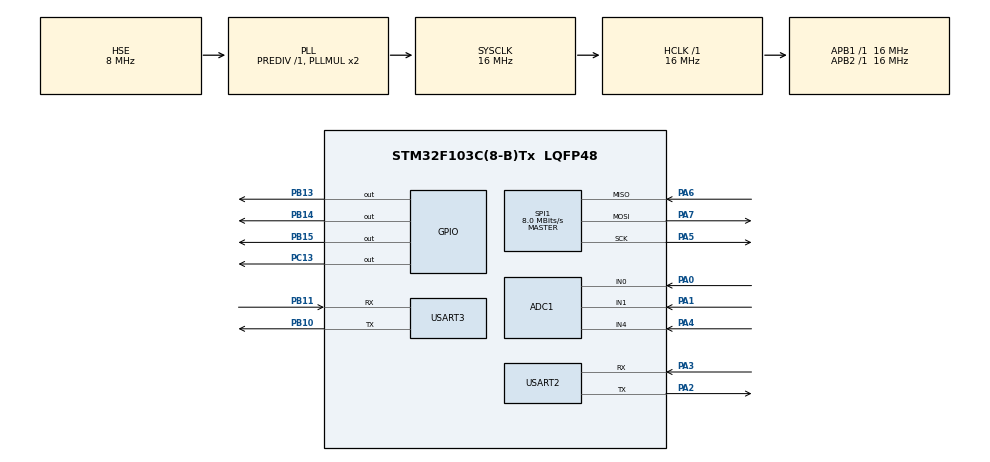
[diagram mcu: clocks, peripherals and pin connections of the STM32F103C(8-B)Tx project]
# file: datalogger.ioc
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Mcu.Family=STM32F1
NVIC.USART3_IRQn=true\:0\:0\:false\:false\:true\:true\:true
ADC1.Channel-10\#ChannelRegularConversion=ADC_CHANNEL_1
RCC.PLLSourceVirtual=RCC_PLLSOURCE_HSE
PA6.Mode=Full_Duplex_Master
PA7.Mode=Full_Duplex_Master
PD1-OSC_OUT.Mode=HSE-External-Oscillator
SPI1.VirtualType=VM_MASTER
ADC1.Rank-10\#ChannelRegularConversion=2
PB10.Mode=Asynchronous
TIM3.AutoReloadPreload=TIM_AUTORELOAD_PRELOAD_ENABLE
PC13-TAMPER-RTC.Signal=GPIO_Output
PD0-OSC_IN.Signal=RCC_OSC_IN
PB11.Signal=USART3_RX
PB13.Signal=GPIO_Output
PB15.Signal=GPIO_Output
NVIC.USART2_IRQn=true\:0\:0\:false\:false\:true\:true\:true
RCC.SYSCLKSource=RCC_SYSCLKSOURCE_PLLCLK
ProjectManager.StackSize=0x400
PA0-WKUP.Signal=ADCx_IN0
PD1-OSC_OUT.Signal=RCC_OSC_OUT
PA13.Signal=SYS_JTMS-SWDIO
PA3.Mode=Asynchronous
PB11.Mode=Asynchronous
ProjectManager.TargetToolchain=STM32CubeIDE
ADC1.Rank-11\#ChannelRegularConversion=3
SPI1.Direction=SPI_DIRECTION_2LINES
RCC.HCLKFreq_Value=16000000
RCC.APB2TimFreq_Value=16000000
TIM3.Period=30000
SPI1.CalculateBaudRate=8.0 MBits/s
RCC.USBFreq_Value=16000000
PA1.Signal=ADCx_IN1
RCC.AHBFreq_Value=16000000
PD0-OSC_IN.Mode=HSE-External-Oscillator
PB10.Signal=USART3_TX
PB14.Signal=GPIO_Output
PA5.Signal=SPI1_SCK
board=custom
NVIC.TIM3_IRQn=true\:0\:0\:false\:false\:true\:true\:true
RCC.APB2Freq_Value=16000000
SPI1.Mode=SPI_MODE_MASTER
PA14.Mode=Serial_Wire
TIM3.Prescaler=15999
SH.ADCx_IN4.0=ADC1_IN4,IN4
SH.ADCx_IN0.0=ADC1_IN0,IN0
ADC1.SamplingTime-10\#ChannelRegularConversion=ADC_SAMPLETIME_239CYCLES_5
ADC1.Rank-9\#ChannelRegularConversion=1
ADC1.NbrOfConversion=3
PA13.Mode=Serial_Wire
Mcu.Name=STM32F103C(8-B)Tx
PA2.Signal=USART2_TX
ADC1.Channel-9\#ChannelRegularConversion=ADC_CHANNEL_0
PA4.Signal=ADCx_IN4
RCC.SYSCLKFreq_VALUE=16000000
Mcu.Package=LQFP48
ADC1.SamplingTime-11\#ChannelRegularConversion=ADC_SAMPLETIME_239CYCLES_5
PA6.Signal=SPI1_MISO
ADC1.master=1
USART2.VirtualMode=VM_ASYNC
USART3.VirtualMode=VM_ASYNC
ADC1.Channel-11\#ChannelRegularConversion=ADC_CHANNEL_4
PA14.Signal=SYS_JTCK-SWCLK
ProjectManager.HeapSize=0x200
NVIC.PriorityGroup=NVIC_PRIORITYGROUP_4
ADC1.NbrOfConversionFlag=1
SH.ADCx_IN1.0=ADC1_IN1,IN1
RCC.APB1TimFreq_Value=16000000
PA2.Mode=Asynchronous
ADC1.SamplingTime-9\#ChannelRegularConversion=ADC_SAMPLETIME_239CYCLES_5
RCC.APB1Freq_Value=16000000
VP_TIM3_VS_ClockSourceINT.Mode=Internal
PA3.Signal=USART2_RX
PA5.Mode=Full_Duplex_Master
PA7.Signal=SPI1_MOSI

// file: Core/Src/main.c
/* USER CODE BEGIN Header */
/**
  ******************************************************************************
  * @file           : main.c
  * @brief          : Main program body
  ******************************************************************************
  * @attention
  *
  * <h2><center>&copy; Copyright (c) 2021 STMicroelectronics.
  * All rights reserved.</center></h2>
  *
  * This software component is licensed by ST under BSD 3-Clause license,
  * the "License"; You may not use this file except in compliance with the
  * License. You may obtain a copy of the License at:
  *                        opensource.org/licenses/BSD-3-Clause
  *
  ******************************************************************************
  */
/* USER CODE END Header */
#include "main.h"

/* USER CODE BEGIN Includes */
#include "stdio.h"
#include "string.h"
/* USER CODE END Includes */

ADC_HandleTypeDef hadc1;

SPI_HandleTypeDef hspi1;

TIM_HandleTypeDef htim3;

UART_HandleTypeDef huart2;
UART_HandleTypeDef huart3;

/* USER CODE BEGIN PV */
uint8_t estado=0;

uint8_t i=0;

uint32_t valor_adc[2];
uint32_t valor_vadc=0;
uint32_t valor_iadc=0;
uint32_t valor_tadc=0;
uint16_t voltaje;
uint16_t corriente;
uint16_t temperatura;

uint8_t i30seg=0;

char buffer[10]="";

uint8_t mostrar=0;
uint8_t conv_adc_rdy=0;
uint8_t n=0;
uint8_t valores_medidos=0;
uint8_t valores_a_medir=0;
uint8_t horas=0;
uint8_t mensaje_iniciar=0;

char msg1[31]="Bienvenido al sitema Datalogger";
char msg2[30]="Escoga la cantidad de Horas ";
char msg3[30]="12,24,48 o 72 Horas";
char msgrx[2]="";

/* USER CODE END PV */

void SystemClock_Config(void);
static void MX_GPIO_Init(void);
static void MX_ADC1_Init(void);
static void MX_USART2_UART_Init(void);
static void MX_USART3_UART_Init(void);
static void MX_TIM3_Init(void);
static void MX_SPI1_Init(void);
/* USER CODE BEGIN PFP */
void conversion_adc(void);
void gestion_led(void);

/* USER CODE END PFP */

/* USER CODE BEGIN 0 */

void ADC_Select_CH0(void)
{
	ADC_ChannelConfTypeDef sConfig = {0};
	  sConfig.Channel = ADC_CHANNEL_0;
	  sConfig.Rank = 1;
	  sConfig.SamplingTime = ADC_SAMPLETIME_239CYCLES_5;
	  if (HAL_ADC_ConfigChannel(&hadc1, &sConfig) != HAL_OK)
	  {
	    Error_Handler();
	  }
}
void ADC_Select_CH1(void)
{
	ADC_ChannelConfTypeDef sConfig = {0};
	  sConfig.Channel = ADC_CHANNEL_1;
	  sConfig.Rank = 1;
	  sConfig.SamplingTime = ADC_SAMPLETIME_239CYCLES_5;
	  if (HAL_ADC_ConfigChannel(&hadc1, &sConfig) != HAL_OK)
	  {
	    Error_Handler();
	  }
}
void ADC_Select_CH4(void)
{
	ADC_ChannelConfTypeDef sConfig = {0};
	  sConfig.Channel = ADC_CHANNEL_4;
	  sConfig.Rank = 1;
	  sConfig.SamplingTime = ADC_SAMPLETIME_239CYCLES_5;
	  if (HAL_ADC_ConfigChannel(&hadc1, &sConfig) != HAL_OK)
	  {
	    Error_Handler();
	  }
}

uint16_t ADC_values[2];
/* USER CODE END 0 */

int main(void)
{

  /* MCU Configuration--------------------------------------------------------*/

  /* Reset of all peripherals, Initializes the Flash interface and the Systick. */
  HAL_Init();

  /* Configure the system clock */
  SystemClock_Config();

  /* Initialize all configured peripherals */
  MX_GPIO_Init();
  MX_ADC1_Init();
  MX_USART2_UART_Init();
  MX_USART3_UART_Init();
  MX_TIM3_Init();
  MX_SPI1_Init();
  /* USER CODE BEGIN 2 */
  HAL_UART_Transmit(&huart3, (uint8_t *) "Inicio", 6, 100);
  HAL_Delay(100);
  /* USER CODE END 2 */

  /* Infinite loop */
  while (1)
  {

    /* USER CODE BEGIN 3 */
	  switch(estado)
	  {
	  case 0:
		  gestion_led();
		  if(mensaje_iniciar==0)
		  {
			  HAL_UART_Transmit(&huart2, (uint8_t*)msg1, 31, 500);
			  HAL_UART_Transmit(&huart2, (uint8_t*)"\r\n", 4, 500);
			  HAL_UART_Transmit(&huart2, (uint8_t*)msg2, 30, 500);
			  HAL_UART_Transmit(&huart2, (uint8_t*)"\r\n", 4, 500);
			  HAL_UART_Transmit(&huart2, (uint8_t*)msg3, 30, 500);
			  HAL_UART_Transmit(&huart2, (uint8_t*)"\r\n", 4, 500);
			  HAL_UART_Receive_IT(&huart2,(uint8_t*) msgrx, 2);
			  mensaje_iniciar=1;
		  }
		  break;
	  case 1:
		  gestion_led();
		  conversion_adc();
		  HAL_TIM_Base_Start_IT(&htim3);
		  if(mostrar && conv_adc_rdy)
		  {
			  HAL_UART_Transmit(&huart3, (uint8_t*)buffer, sprintf(buffer, "%d", voltaje), 500);
			  HAL_UART_Transmit(&huart3, (uint8_t*)"---", 3, 500);
			  HAL_UART_Transmit(&huart3, (uint8_t*)buffer, sprintf(buffer, "%d", corriente), 500);
			  HAL_UART_Transmit(&huart3, (uint8_t*)"---", 3, 500);
			  HAL_UART_Transmit(&huart3, (uint8_t*)buffer, sprintf(buffer, "%d", temperatura), 500);
			  HAL_UART_Transmit(&huart3, (uint8_t*)"\r\n", 4, 500);
			  mostrar=0;
			  valores_medidos++;
			  if(valores_medidos>valores_a_medir)
			  {
				  valores_medidos=0;
				  valores_a_medir=0;
				  estado=2;
				  HAL_UART_Transmit(&huart3, (uint8_t*)"FIN", 3, 500);
			  }

		  }
		  break;
	  case 2:
		  gestion_led();
	  	  break;
	  default:
	  	  break;
	  }
  }
  /* USER CODE END 3 */
}

void SystemClock_Config(void)
{
  RCC_OscInitTypeDef RCC_OscInitStruct = {0};
  RCC_ClkInitTypeDef RCC_ClkInitStruct = {0};
  RCC_PeriphCLKInitTypeDef PeriphClkInit = {0};

  /** Initializes the RCC Oscillators according to the specified parameters
  * in the RCC_OscInitTypeDef structure.
  */
  RCC_OscInitStruct.OscillatorType = RCC_OSCILLATORTYPE_HSE;
  RCC_OscInitStruct.HSEState = RCC_HSE_ON;
  RCC_OscInitStruct.HSEPredivValue = RCC_HSE_PREDIV_DIV1;
  RCC_OscInitStruct.HSIState = RCC_HSI_ON;
  RCC_OscInitStruct.PLL.PLLState = RCC_PLL_ON;
  RCC_OscInitStruct.PLL.PLLSource = RCC_PLLSOURCE_HSE;
  RCC_OscInitStruct.PLL.PLLMUL = RCC_PLL_MUL2;
  if (HAL_RCC_OscConfig(&RCC_OscInitStruct) != HAL_OK)
  {
    Error_Handler();
  }
  /** Initializes the CPU, AHB and APB buses clocks
  */
  RCC_ClkInitStruct.ClockType = RCC_CLOCKTYPE_HCLK|RCC_CLOCKTYPE_SYSCLK
                              |RCC_CLOCKTYPE_PCLK1|RCC_CLOCKTYPE_PCLK2;
  RCC_ClkInitStruct.SYSCLKSource = RCC_SYSCLKSOURCE_PLLCLK;
  RCC_ClkInitStruct.AHBCLKDivider = RCC_SYSCLK_DIV1;
  RCC_ClkInitStruct.APB1CLKDivider = RCC_HCLK_DIV1;
  RCC_ClkInitStruct.APB2CLKDivider = RCC_HCLK_DIV1;

  if (HAL_RCC_ClockConfig(&RCC_ClkInitStruct, FLASH_LATENCY_0) != HAL_OK)
  {
    Error_Handler();
  }
  PeriphClkInit.PeriphClockSelection = RCC_PERIPHCLK_ADC;
  PeriphClkInit.AdcClockSelection = RCC_ADCPCLK2_DIV2;
  if (HAL_RCCEx_PeriphCLKConfig(&PeriphClkInit) != HAL_OK)
  {
    Error_Handler();
  }
}

static void MX_ADC1_Init(void)
{

//  ADC_ChannelConfTypeDef sConfig = {0};

  /** Common config
  */
  hadc1.Instance = ADC1;
  hadc1.Init.ScanConvMode = ADC_SCAN_ENABLE;
  hadc1.Init.ContinuousConvMode = DISABLE;
  hadc1.Init.DiscontinuousConvMode = DISABLE;
  hadc1.Init.ExternalTrigConv = ADC_SOFTWARE_START;
  hadc1.Init.DataAlign = ADC_DATAALIGN_RIGHT;
  hadc1.Init.NbrOfConversion = 1;
  if (HAL_ADC_Init(&hadc1) != HAL_OK)
  {
    Error_Handler();
  }
  /** Configure Regular Channel
  */
//  sConfig.Channel = ADC_CHANNEL_0;
//  sConfig.Rank = ADC_REGULAR_RANK_1;
//  sConfig.SamplingTime = ADC_SAMPLETIME_239CYCLES_5;
//  if (HAL_ADC_ConfigChannel(&hadc1, &sConfig) != HAL_OK)
//  {
//    Error_Handler();
//  }
//  /** Configure Regular Channel
//  */
//  sConfig.Channel = ADC_CHANNEL_1;
//  sConfig.Rank = ADC_REGULAR_RANK_2;
//  if (HAL_ADC_ConfigChannel(&hadc1, &sConfig) != HAL_OK)
//  {
//    Error_Handler();
//  }
//  /** Configure Regular Channel
//  */
//  sConfig.Channel = ADC_CHANNEL_4;
//  sConfig.Rank = ADC_REGULAR_RANK_3;
//  if (HAL_ADC_ConfigChannel(&hadc1, &sConfig) != HAL_OK)
//  {
//    Error_Handler();
//  }

}

static void MX_SPI1_Init(void)
{

  /* SPI1 parameter configuration*/
  hspi1.Instance = SPI1;
  hspi1.Init.Mode = SPI_MODE_MASTER;
  hspi1.Init.Direction = SPI_DIRECTION_2LINES;
  hspi1.Init.DataSize = SPI_DATASIZE_8BIT;
  hspi1.Init.CLKPolarity = SPI_POLARITY_LOW;
  hspi1.Init.CLKPhase = SPI_PHASE_1EDGE;
  hspi1.Init.NSS = SPI_NSS_SOFT;
  hspi1.Init.BaudRatePrescaler = SPI_BAUDRATEPRESCALER_2;
  hspi1.Init.FirstBit = SPI_FIRSTBIT_MSB;
  hspi1.Init.TIMode = SPI_TIMODE_DISABLE;
  hspi1.Init.CRCCalculation = SPI_CRCCALCULATION_DISABLE;
  hspi1.Init.CRCPolynomial = 10;
  if (HAL_SPI_Init(&hspi1) != HAL_OK)
  {
    Error_Handler();
  }

}

static void MX_TIM3_Init(void)
{

  TIM_ClockConfigTypeDef sClockSourceConfig = {0};
  TIM_MasterConfigTypeDef sMasterConfig = {0};

  htim3.Instance = TIM3;
  htim3.Init.Prescaler = 15999;
  htim3.Init.CounterMode = TIM_COUNTERMODE_UP;
  htim3.Init.Period = 30000;
  htim3.Init.ClockDivision = TIM_CLOCKDIVISION_DIV1;
  htim3.Init.AutoReloadPreload = TIM_AUTORELOAD_PRELOAD_ENABLE;
  if (HAL_TIM_Base_Init(&htim3) != HAL_OK)
  {
    Error_Handler();
  }
  sClockSourceConfig.ClockSource = TIM_CLOCKSOURCE_INTERNAL;
  if (HAL_TIM_ConfigClockSource(&htim3, &sClockSourceConfig) != HAL_OK)
  {
    Error_Handler();
  }
  sMasterConfig.MasterOutputTrigger = TIM_TRGO_RESET;
  sMasterConfig.MasterSlaveMode = TIM_MASTERSLAVEMODE_DISABLE;
  if (HAL_TIMEx_MasterConfigSynchronization(&htim3, &sMasterConfig) != HAL_OK)
  {
    Error_Handler();
  }

}

static void MX_USART2_UART_Init(void)
{

  huart2.Instance = USART2;
  huart2.Init.BaudRate = 115200;
  huart2.Init.WordLength = UART_WORDLENGTH_8B;
  huart2.Init.StopBits = UART_STOPBITS_1;
  huart2.Init.Parity = UART_PARITY_NONE;
  huart2.Init.Mode = UART_MODE_TX_RX;
  huart2.Init.HwFlowCtl = UART_HWCONTROL_NONE;
  huart2.Init.OverSampling = UART_OVERSAMPLING_16;
  if (HAL_UART_Init(&huart2) != HAL_OK)
  {
    Error_Handler();
  }

}

static void MX_USART3_UART_Init(void)
{

  huart3.Instance = USART3;
  huart3.Init.BaudRate = 115200;
  huart3.Init.WordLength = UART_WORDLENGTH_8B;
  huart3.Init.StopBits = UART_STOPBITS_1;
  huart3.Init.Parity = UART_PARITY_NONE;
  huart3.Init.Mode = UART_MODE_TX_RX;
  huart3.Init.HwFlowCtl = UART_HWCONTROL_NONE;
  huart3.Init.OverSampling = UART_OVERSAMPLING_16;
  if (HAL_UART_Init(&huart3) != HAL_OK)
  {
    Error_Handler();
  }

}

static void MX_GPIO_Init(void)
{
  GPIO_InitTypeDef GPIO_InitStruct = {0};

  /* GPIO Ports Clock Enable */
  __HAL_RCC_GPIOC_CLK_ENABLE();
  __HAL_RCC_GPIOD_CLK_ENABLE();
  __HAL_RCC_GPIOA_CLK_ENABLE();
  __HAL_RCC_GPIOB_CLK_ENABLE();

  /*Configure GPIO pin Output Level */
  HAL_GPIO_WritePin(GPIOC, GPIO_PIN_13, GPIO_PIN_RESET);

  /*Configure GPIO pin Output Level */
  HAL_GPIO_WritePin(GPIOB, GPIO_PIN_13|GPIO_PIN_14|GPIO_PIN_15, GPIO_PIN_RESET);

  /*Configure GPIO pin : PC13 */
  GPIO_InitStruct.Pin = GPIO_PIN_13;
  GPIO_InitStruct.Mode = GPIO_MODE_OUTPUT_PP;
  GPIO_InitStruct.Pull = GPIO_NOPULL;
  GPIO_InitStruct.Speed = GPIO_SPEED_FREQ_LOW;
  HAL_GPIO_Init(GPIOC, &GPIO_InitStruct);

  /*Configure GPIO pins : PB13 PB14 PB15 */
  GPIO_InitStruct.Pin = GPIO_PIN_13|GPIO_PIN_14|GPIO_PIN_15;
  GPIO_InitStruct.Mode = GPIO_MODE_OUTPUT_PP;
  GPIO_InitStruct.Pull = GPIO_NOPULL;
  GPIO_InitStruct.Speed = GPIO_SPEED_FREQ_LOW;
  HAL_GPIO_Init(GPIOB, &GPIO_InitStruct);

}

/* USER CODE BEGIN 4 */
void gestion_led(void)
{
	switch (estado)
	{
	case 0:
		HAL_GPIO_WritePin(GPIOB,GPIO_PIN_13,GPIO_PIN_SET);
		HAL_GPIO_WritePin(GPIOB,GPIO_PIN_14,GPIO_PIN_RESET);
		HAL_GPIO_WritePin(GPIOB,GPIO_PIN_15,GPIO_PIN_RESET);
	break;
	case 1:
		HAL_GPIO_WritePin(GPIOB,GPIO_PIN_13,GPIO_PIN_RESET);
		HAL_GPIO_WritePin(GPIOB,GPIO_PIN_14,GPIO_PIN_SET);
		HAL_GPIO_WritePin(GPIOB,GPIO_PIN_15,GPIO_PIN_RESET);
	break;
	case 2:
		HAL_GPIO_WritePin(GPIOB,GPIO_PIN_13,GPIO_PIN_RESET);
		HAL_GPIO_WritePin(GPIOB,GPIO_PIN_14,GPIO_PIN_RESET);
		HAL_GPIO_WritePin(GPIOB,GPIO_PIN_15,GPIO_PIN_SET);
	break;
	}
}
void HAL_UART_RxCpltCallback(UART_HandleTypeDef *huart)
{
//	HAL_UART_Transmit_IT(&huart2,(uint8_t*) msgrx, 2);
	HAL_UART_Transmit(&huart2,(uint8_t*) msgrx, 2,100);
	if(stricmp(msgrx,"12")==0)
	{
		HAL_UART_Transmit(&huart2, (uint8_t*)"12", 2, 1000);
		valores_a_medir=12;
		estado=1;
	}
	else
	{
		if(stricmp(msgrx,"24")==0)
		{
			HAL_UART_Transmit(&huart2, (uint8_t*)"24", 2, 1000);
			valores_a_medir=24;
			estado=1;

		}
		else
		{
			if(stricmp(msgrx,"48")==0)
			{
				HAL_UART_Transmit(&huart2, (uint8_t*)"48", 2, 1000);
				valores_a_medir=48;
				estado=1;

			}
			else
			{
				if(stricmp(msgrx,"72")==0)
				{
					HAL_UART_Transmit(&huart2, (uint8_t*)"72", 2, 1000);
					valores_a_medir=72;
					estado=1;

				}
				else
				{
						HAL_UART_Transmit(&huart2, (uint8_t*)"in", 2, 1000);
						valores_a_medir=72;
						estado=1;

				}
			}
		}

	}
	HAL_UART_Transmit(&huart3, (uint8_t*)"Valor Ajustado", 14, 1000);

}
void HAL_TIM_PeriodElapsedCallback(TIM_HandleTypeDef *htim)
{
	if(htim==&htim3)
	{
		i++;
		i30seg++;
		if(i30seg>=2)
		{
			i30seg=0;
			mostrar=1;
		}

	}
//	if(htim==&htim4)
//	{
////		mostrar=1;
//		n++;
//	}

}
void conversion_adc(void)
{
	n++;
	ADC_Select_CH0();
	HAL_ADC_Start(&hadc1);
	HAL_ADC_PollForConversion(&hadc1, 1000);
	valor_vadc=valor_vadc+HAL_ADC_GetValue(&hadc1);
	HAL_ADC_Stop(&hadc1);

	ADC_Select_CH1();
	HAL_ADC_Start(&hadc1);
	HAL_ADC_PollForConversion(&hadc1, 1000);
	valor_iadc=valor_iadc+HAL_ADC_GetValue(&hadc1);
	HAL_ADC_Stop(&hadc1);

	ADC_Select_CH4();
	HAL_ADC_Start(&hadc1);
	HAL_ADC_PollForConversion(&hadc1, 1000);
	valor_tadc=valor_tadc+HAL_ADC_GetValue(&hadc1);
	HAL_ADC_Stop(&hadc1);

	if(n>100)
	{
//		mostrar=1;
		voltaje=valor_vadc/100;
		corriente=valor_iadc/100;
		temperatura=valor_tadc/100;
		//Ingresar aqui las formulas
		valor_vadc=0;
		valor_iadc=	0;
		valor_tadc=0;

		n=0;

		conv_adc_rdy=1;
	}
}

/* USER CODE END 4 */

void Error_Handler(void)
{
  __disable_irq();
  while (1)
  {
  }
}

/************************ (C) COPYRIGHT STMicroelectronics *****END OF FILE****/
